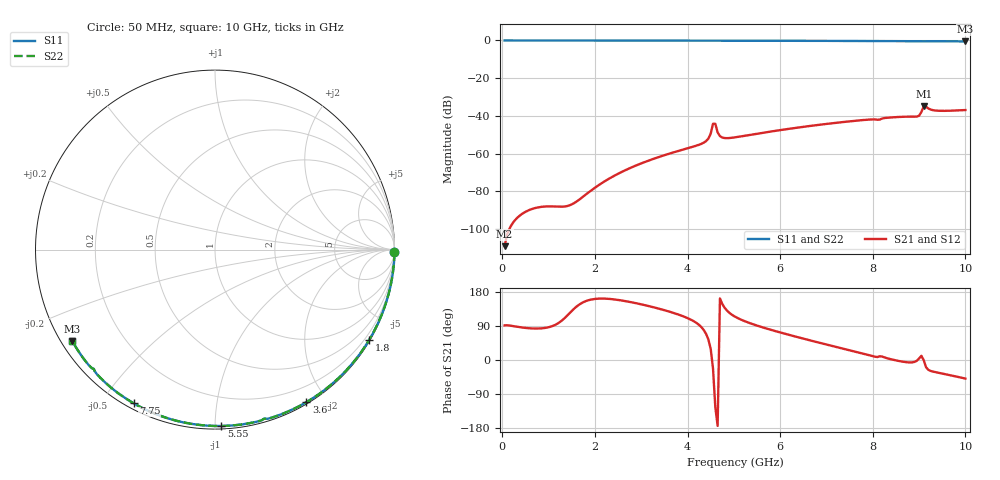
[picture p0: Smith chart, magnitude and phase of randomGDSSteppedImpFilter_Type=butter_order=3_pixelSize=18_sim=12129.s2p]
! freq	dB(S11)	phase(S11)	dB(S12)	phase(S12)
!  dB(S21)	phase(S21)	dB(S22)	phase(S22)
!S-par simulation data
#  GHz  S  DB  R 50
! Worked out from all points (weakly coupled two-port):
!   200 points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, 50 MHz to 10 GHz, reference 50 ohm
!   highest |S21| = -34.98 dB at 9.1 GHz (marker M1); lowest = -109.2 dB at 50 MHz (marker M2)
!   lowest |S11| = -0.5 dB at 10 GHz (marker M3), VSWR 35.04, Z = 1.55 - j14.7 ohm
!   |S11| at or under -10 dB: nowhere
!   |S22| runs from -0.5 to 0.0 dB; largest |S21 - S12| = 0
!   S11 on the Smith chart (normalised r, x): 50 MHz: open; 1.8 GHz: 0.03, -3.69; 3.6 GHz: 0.02, -1.77; 5.55 GHz: 0.02, -1.04; 7.75 GHz: 0.02, -0.60; 10 GHz: 0.03, -0.29
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0.05  -0.00 -0.9  -109.16 91.4  -109.16 91.4  -0.00 -0.9
1.75  -0.04 -29.5  -82.78 152.5  -82.78 152.5  -0.04 -29.5
1.8  -0.04 -30.3  -81.82 155.2  -81.82 155.2  -0.04 -30.3
2.65  -0.06 -44.1  -68.92 155.6  -68.92 155.6  -0.06 -44.1
3.4  -0.07 -56.0  -61.69 134.9  -61.69 134.9  -0.07 -56.0
3.6  -0.08 -59.1  -60.11 127.9  -60.11 127.9  -0.08 -59.1
4.4  -0.10 -71.3  -53.41 69.0  -53.41 69.0  -0.10 -71.3
4.5  -0.12 -72.9  -49.49 29.6  -49.49 29.6  -0.12 -72.9
4.55  -0.16 -73.7  -44.20 -22.1  -44.20 -22.1  -0.16 -73.7
4.6  -0.16 -73.9  -44.22 -124.8  -44.22 -124.8  -0.16 -73.9
4.65  -0.12 -74.7  -48.81 -173.9  -48.81 -173.9  -0.12 -74.7
4.75  -0.12 -76.3  -51.51 147.9  -51.51 147.9  -0.12 -76.3
5.05  -0.13 -80.7  -51.32 112.9  -51.32 112.9  -0.13 -80.7
5.55  -0.14 -87.9  -49.31 88.8  -49.31 88.8  -0.14 -87.9
6.7  -0.20 -103.9  -45.20 50.1  -45.20 50.1  -0.20 -103.9
7.75  -0.27 -117.9  -42.32 18.1  -42.32 18.1  -0.27 -117.9
8.35  -0.32 -125.8  -40.94 3.3  -40.94 3.3  -0.32 -125.8
8.95  -0.39 -133.8  -40.39 -2.1  -40.39 -2.1  -0.39 -133.8
9  -0.41 -134.5  -39.94 4.1  -39.94 4.1  -0.41 -134.5
9.1  -0.47 -135.4  -34.98 -0.6  -34.98 -0.6  -0.47 -135.4
9.35  -0.42 -138.7  -37.18 -32.0  -37.18 -32.0  -0.42 -138.7
10  -0.50 -147.3  -36.92 -49.0  -36.92 -49.0  -0.50 -147.3
